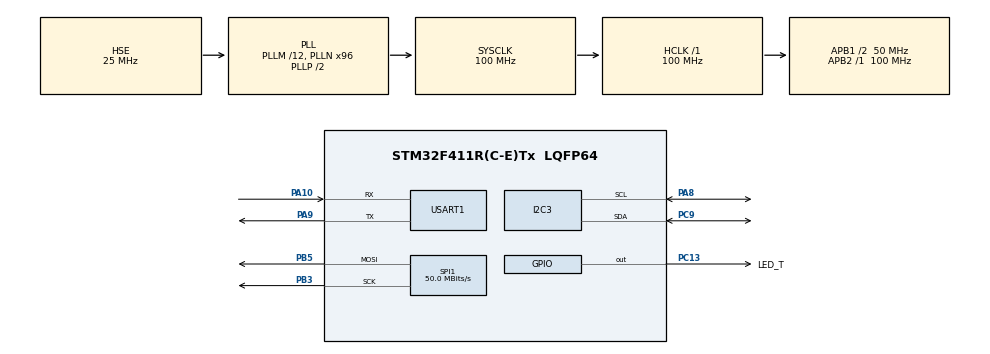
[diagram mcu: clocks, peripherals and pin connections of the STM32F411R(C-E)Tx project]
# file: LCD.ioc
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I2C3.I2C_Mode=I2C_Fast
Mcu.Family=STM32F4
Mcu.Name=STM32F411R(C-E)Tx
Mcu.Package=LQFP64
NVIC.PriorityGroup=NVIC_PRIORITYGROUP_4
PA10.Mode=Asynchronous
PA10.Signal=USART1_RX
PA13.Mode=Serial_Wire
PA13.Signal=SYS_JTMS-SWDIO
PA14.Mode=Serial_Wire
PA14.Signal=SYS_JTCK-SWCLK
PA8.Mode=I2C
PA8.Signal=I2C3_SCL
PA9.Mode=Asynchronous
PA9.Signal=USART1_TX
PB3.Mode=TX_Only_Simplex_Unidirect_Master
PB3.Signal=SPI1_SCK
PB5.Mode=TX_Only_Simplex_Unidirect_Master
PB5.Signal=SPI1_MOSI
PC13-ANTI_TAMP.GPIO_Label=LED_T
PC13-ANTI_TAMP.Signal=GPIO_Output
PC14-OSC32_IN.Mode=LSE-External-Oscillator
PC14-OSC32_IN.Signal=RCC_OSC32_IN
PC15-OSC32_OUT.Mode=LSE-External-Oscillator
PC15-OSC32_OUT.Signal=RCC_OSC32_OUT
PC9.Mode=I2C
PC9.Signal=I2C3_SDA
PH0\ -\ OSC_IN.Mode=HSE-External-Oscillator
PH0\ -\ OSC_IN.Signal=RCC_OSC_IN
PH1\ -\ OSC_OUT.Mode=HSE-External-Oscillator
PH1\ -\ OSC_OUT.Signal=RCC_OSC_OUT
ProjectManager.HeapSize=0x400
ProjectManager.StackSize=0xE00
ProjectManager.TargetToolchain=MDK-ARM V5.32
RCC.48MHZClocksFreq_Value=50000000
RCC.AHBFreq_Value=100000000
RCC.APB1CLKDivider=RCC_HCLK_DIV2
RCC.APB1Freq_Value=50000000
RCC.APB1TimFreq_Value=100000000
RCC.APB2Freq_Value=100000000
RCC.APB2TimFreq_Value=100000000
RCC.CortexFreq_Value=100000000
RCC.HCLKFreq_Value=100000000
RCC.HSE_VALUE=25000000
RCC.HSI_VALUE=16000000
RCC.PLLM=12
RCC.PLLN=96
RCC.PLLSourceVirtual=RCC_PLLSOURCE_HSE
RCC.SYSCLKFreq_VALUE=100000000
RCC.SYSCLKSource=RCC_SYSCLKSOURCE_PLLCLK
RCC.VCOOutputFreq_Value=200000000
SPI1.BaudRatePrescaler=SPI_BAUDRATEPRESCALER_2
SPI1.CLKPhase=SPI_PHASE_2EDGE
SPI1.CLKPolarity=SPI_POLARITY_HIGH
SPI1.CalculateBaudRate=50.0 MBits/s
SPI1.Direction=SPI_DIRECTION_2LINES
SPI1.Mode=SPI_MODE_MASTER
SPI1.VirtualType=VM_MASTER
USART1.VirtualMode=VM_ASYNC
board=custom

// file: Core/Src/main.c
/* USER CODE BEGIN Header */
/**
  ******************************************************************************
  * @file           : main.c
  * @brief          : Main program body
  ******************************************************************************
  * @attention
  *
  * Copyright (c) 2024 STMicroelectronics.
  * All rights reserved.
  *
  * This software is licensed under terms that can be found in the LICENSE file
  * in the root directory of this software component.
  * If no LICENSE file comes with this software, it is provided AS-IS.
  *
  ******************************************************************************
  */
/* USER CODE END Header */
#include "main.h"
#include "i2c.h"
#include "spi.h"
#include "usart.h"
#include "gpio.h"

/* USER CODE BEGIN Includes */
#include <string.h>
#include "delay.h"
#include "lcd.h"
#include "lcd_init.h"
#include "CST816.h"
#include "key.h"
/* USER CODE END Includes */

/* USER CODE BEGIN PD */

#define SCALL_RATE 8

// 原始图片尺寸
#define ORIGINAL_SIZE 240*240

// 压缩后图片尺寸
#define COMPRESSED_SIZE 30*30

/* USER CODE END PD */

void SystemClock_Config(void);
/* USER CODE BEGIN PFP */

void downsample(uint8_t * originalImage, float * compressedImage)
{
    for (int i = 0; i < COMPRESSED_SIZE; i++) {
        // 计算原始图片区域的左上角坐标
        int start_x = (i % 30) * (8); // 每行240个像素压缩成30个像素
        int start_y = (i / 30) * (8); // 每列240个像素压缩成30个像素

        // 计算原始图片区域的右下角坐标
        int end_x = start_x + 8; // 30 / 240 = 0.125，8 = 240 * 0.125
        int end_y = start_y + 8;

        // 计算原始图片区域内像素的平均值
        int sum = 0;
        for (int x = start_x; x < end_x; x++) {
            for (int y = start_y; y < end_y; y++) {
                sum += originalImage[x + y * 240];
            }
        }
        compressedImage[i] = sum / 64; // 8*8=64
				//norm
				compressedImage[i] /= 255;
    }
}

/* USER CODE END PFP */

int main(void)
{

  /* MCU Configuration--------------------------------------------------------*/

  /* Reset of all peripherals, Initializes the Flash interface and the Systick. */
  HAL_Init();

  /* Configure the system clock */
  SystemClock_Config();

  /* Initialize all configured peripherals */
  MX_GPIO_Init();
  MX_I2C3_Init();
  MX_SPI1_Init();
  MX_USART1_UART_Init();
  /* USER CODE BEGIN 2 */

	delay_init();
	LCD_Init();
	LCD_Fill(0,0,LCD_W,LCD_H,BLACK);
	LCD_ShowString(LCD_W/2-40,LCD_H/2,(uint8_t*)"Welcome!",WHITE,BLACK,24,0);//12*6,16*8,24*12,32*16
	LCD_Fill(0,0,LCD_W,LCD_H-40,WHITE);

	extern CST816_Info CST816_Instance;
	CST816_Init();
	CST816_RESET();

	Key_Port_Init();

  // 原始图片数据
  static uint8_t originalImage[ORIGINAL_SIZE];
  memset(originalImage, 0, ORIGINAL_SIZE);
  // 压缩后图片数据
  static float compressedImage[COMPRESSED_SIZE];
  memset(compressedImage, 0, COMPRESSED_SIZE);

  /* USER CODE END 2 */

  /* Infinite loop */
  while (1)
  {

    /* USER CODE BEGIN 3 */

    if(CST816_Get_FingerNum()!=0x00 && CST816_Get_FingerNum()!=0xFF)
		{
			CST816_Get_XY_AXIS();
			if(CST816_Instance.X_Pos > SCALL_RATE/2 && CST816_Instance.Y_Pos > SCALL_RATE/2)
      {
        for(uint8_t i=0; i<SCALL_RATE; i++)
        {
          for(uint8_t j = 0; j < SCALL_RATE; j++)
          {
            originalImage[(CST816_Instance.X_Pos - SCALL_RATE/2 + j) + (CST816_Instance.Y_Pos - SCALL_RATE/2 + i)*240] = 0xFF;
          }
        }
        LCD_Fill(CST816_Instance.X_Pos - SCALL_RATE/2, CST816_Instance.Y_Pos - SCALL_RATE/2,
								CST816_Instance.X_Pos + SCALL_RATE/2, CST816_Instance.Y_Pos + SCALL_RATE/2, BLACK);
      }
		}
		if(KeyScan(0))
		{
      static uint8_t reg_state = 0;
      if(reg_state == 1)
      {reg_state = 0;}
      else
      {reg_state = 1;}
      if(reg_state)
      {
        //pooling
        downsample(originalImage, compressedImage);

        //recongniztion

        //clear mem
        memset(originalImage, 0, sizeof(originalImage));
        memset(compressedImage, 0.0, sizeof(compressedImage));
      }
      else
      {
        //clear lcd
			  LCD_Fill(0,0,LCD_W,LCD_H-40,WHITE);

      }
      HAL_GPIO_TogglePin(LED_T_GPIO_Port,LED_T_Pin);
		}
  }
  /* USER CODE END 3 */
}

void SystemClock_Config(void)
{
  RCC_OscInitTypeDef RCC_OscInitStruct = {0};
  RCC_ClkInitTypeDef RCC_ClkInitStruct = {0};

  /** Configure the main internal regulator output voltage
  */
  __HAL_RCC_PWR_CLK_ENABLE();
  __HAL_PWR_VOLTAGESCALING_CONFIG(PWR_REGULATOR_VOLTAGE_SCALE1);

  /** Initializes the RCC Oscillators according to the specified parameters
  * in the RCC_OscInitTypeDef structure.
  */
  RCC_OscInitStruct.OscillatorType = RCC_OSCILLATORTYPE_HSE;
  RCC_OscInitStruct.HSEState = RCC_HSE_ON;
  RCC_OscInitStruct.PLL.PLLState = RCC_PLL_ON;
  RCC_OscInitStruct.PLL.PLLSource = RCC_PLLSOURCE_HSE;
  RCC_OscInitStruct.PLL.PLLM = 12;
  RCC_OscInitStruct.PLL.PLLN = 96;
  RCC_OscInitStruct.PLL.PLLP = RCC_PLLP_DIV2;
  RCC_OscInitStruct.PLL.PLLQ = 4;
  if (HAL_RCC_OscConfig(&RCC_OscInitStruct) != HAL_OK)
  {
    Error_Handler();
  }

  /** Initializes the CPU, AHB and APB buses clocks
  */
  RCC_ClkInitStruct.ClockType = RCC_CLOCKTYPE_HCLK|RCC_CLOCKTYPE_SYSCLK
                              |RCC_CLOCKTYPE_PCLK1|RCC_CLOCKTYPE_PCLK2;
  RCC_ClkInitStruct.SYSCLKSource = RCC_SYSCLKSOURCE_PLLCLK;
  RCC_ClkInitStruct.AHBCLKDivider = RCC_SYSCLK_DIV1;
  RCC_ClkInitStruct.APB1CLKDivider = RCC_HCLK_DIV2;
  RCC_ClkInitStruct.APB2CLKDivider = RCC_HCLK_DIV1;

  if (HAL_RCC_ClockConfig(&RCC_ClkInitStruct, FLASH_LATENCY_3) != HAL_OK)
  {
    Error_Handler();
  }
}

void Error_Handler(void)
{
  __disable_irq();
  while (1)
  {
  }
}
